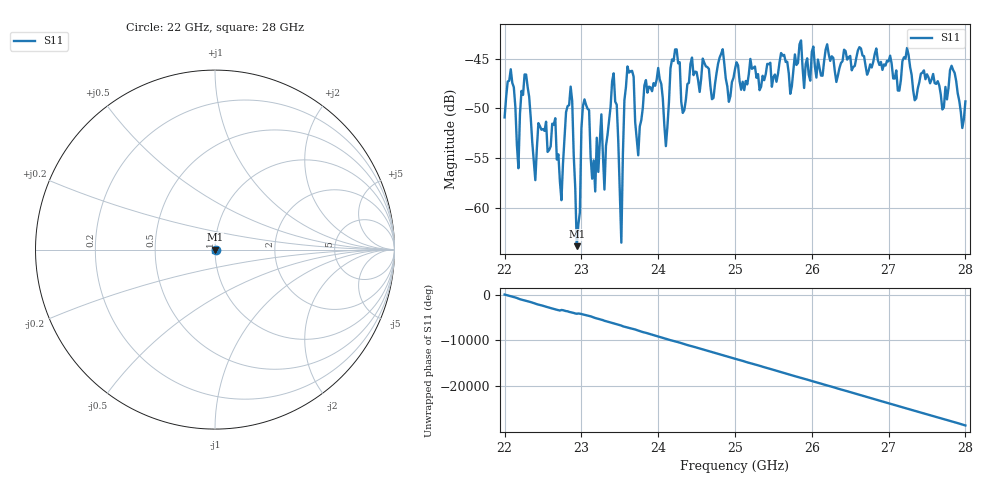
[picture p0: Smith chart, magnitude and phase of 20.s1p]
#  HZ  S  RI  R  50.00
! Rohde & Schwarz ZVA40 4Ports - Version 3.90 - 1145.1110k42 SN: 100403
! Date: 2023-10-04 06:00:40
! Measurement: S12
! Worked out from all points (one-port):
!   301 points, 22 GHz to 28 GHz, reference 50 ohm
!   lowest |S11| = -63.9 dB at 22.94 GHz (marker M1), VSWR 1.00, Z = 50 + j0.0511 ohm
!   |S11| at or under -10 dB: start of sweep to end of sweep
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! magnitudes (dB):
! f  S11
! 22 GHz  -50.9
! 22.08 GHz  -46.0
! 22.18 GHz  -56.0
! 22.28 GHz  -46.6
! 22.4 GHz  -57.2
! 22.44 GHz  -51.5
! 22.76 GHz  -55.6
! 22.86 GHz  -47.8
! 22.94 GHz  -63.9
! 23.04 GHz  -49.1
! 23.18 GHz  -58.4
! 23.26 GHz  -50.6
! 23.3 GHz  -58.2
! 23.42 GHz  -46.5
! 23.5 GHz  -58.3
! 23.52 GHz  -63.5
! 23.56 GHz  -49.2
! 23.6 GHz  -45.8
! 23.74 GHz  -54.7
! 23.84 GHz  -47.1
! 24 GHz  -45.9
! 24.1 GHz  -53.8
! 24.26 GHz  -45.5
! 25 GHz  -46.0
! 25.76 GHz  -46.2
! 26.5 GHz  -44.7
! 27.26 GHz  -44.6
! 28 GHz  -49.3
